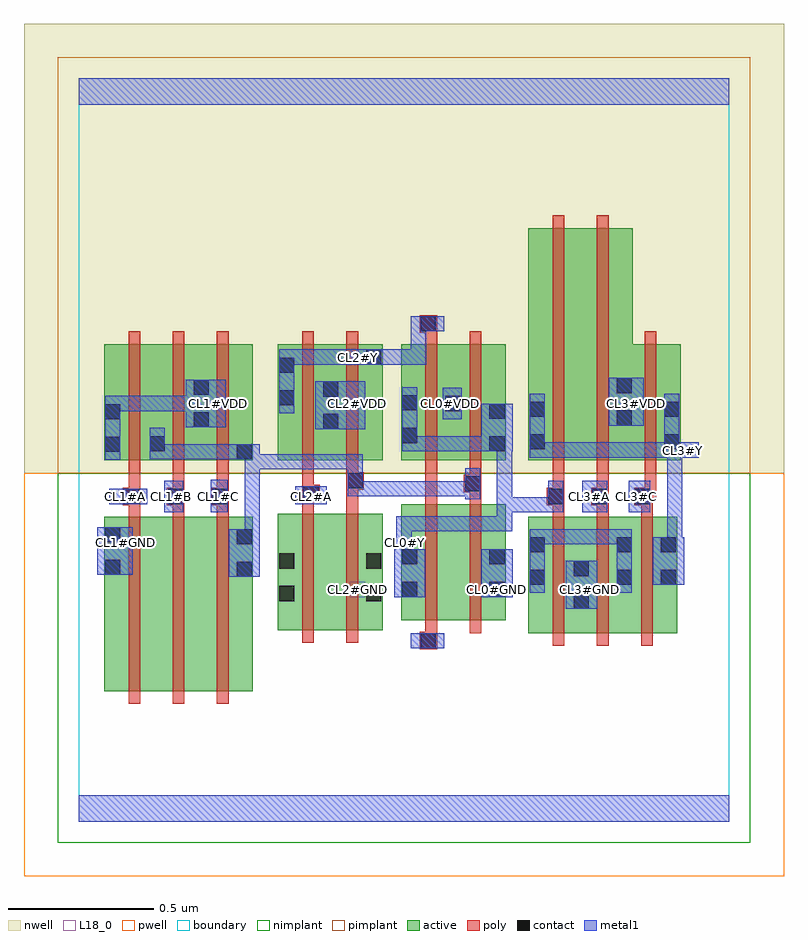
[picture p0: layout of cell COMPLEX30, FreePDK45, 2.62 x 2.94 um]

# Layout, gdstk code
import gdstk
lib = gdstk.Library(unit=1e-6, precision=1e-09)
def R(c, l, rs):  # rectangles x0, y0, x1, y1
    for r in rs: c.add(gdstk.rectangle(r[:2], r[2:], *l))
def A(c, l, x, y, w, h, nx, ny, dx, dy):  # array of equal rectangles
    R(c, l, [(x+i*dx, y+j*dy, x+i*dx+w, y+j*dy+h) for i in range(nx) for j in range(ny)])
active = (1, 0)
pwell = (2, 0)
nwell = (3, 0)
nimplant = (4, 0)
pimplant = (5, 0)
poly = (9, 0)
contact = (10, 0)
metal1 = (11, 0)
L18_0 = (18, 0)
boundary = (235, 0)

complex30 = lib.new_cell('COMPLEX30')
A(complex30, active, 0.088, 1.244, 0.06, 0.4, 3, 1, 0.152, 0)
R(complex30, active, [(0.088,0.45,0.268,1.05), (0.268,0.45,0.42,1.05), (0.42,0.45,0.6,1.05), (0.088,0.556,0.148,1.05), (0.54,0.556,0.6,1.05), (1.548,0.65,1.76,1.05), (1.7,0.65,1.908,1.05), (1.848,0.65,2.06,1.05), (0.686,0.66,0.866,1.06), (0.866,0.66,1.046,1.06), (1.11,0.694,1.29,1.094), (1.29,0.694,1.47,1.094), (1.7,0.73,1.76,1.05), (0.686,0.756,0.746,1.06), (0.986,0.756,1.046,1.06), (1.11,0.756,1.17,1.094), (1.41,0.756,1.47,1.094), (1.548,0.756,1.608,1.05), (1.848,0.756,1.908,1.05), (2,0.756,2.06,1.05), (0.088,1.244,0.3,1.644), (0.24,1.244,0.452,1.644), (0.392,1.244,0.6,1.644), (0.54,1.244,0.6,1.644), (0.686,1.244,0.898,1.644), (0.686,1.244,0.746,1.644), (0.838,1.244,1.046,1.644), (0.838,1.244,0.898,1.644), (0.986,1.244,1.046,1.644), (1.11,1.244,1.318,1.644), (1.11,1.244,1.17,1.644), (1.258,1.244,1.47,1.644), (1.258,1.244,1.318,1.644), (1.41,1.244,1.47,1.644), (1.548,1.244,1.728,2.044), (1.548,1.244,1.608,2.044), (1.728,1.244,1.908,2.044), (1.848,1.244,1.908,1.644), (1.848,1.244,2.072,1.644), (2.012,1.244,2.072,1.644)])
R(complex30, pwell, [(-0.188,-0.188,2.428,1.2)])
R(complex30, nwell, [(-0.188,1.2,2.428,2.748)])
R(complex30, nimplant, [(-0.072,-0.072,2.312,1.2)])
R(complex30, pimplant, [(-0.072,1.2,2.312,2.632)])
A(complex30, poly, 0.172, 0.406, 0.04, 0.688, 3, 1, 0.152, 0)
A(complex30, poly, 1.632, 0.606, 0.04, 0.488, 3, 1, 0.152, 0)
A(complex30, poly, 0.172, 1.054, 0.04, 0.076, 3, 1, 0.152, 0)
A(complex30, poly, 1.632, 1.054, 0.04, 0.076, 3, 1, 0.152, 0)
A(complex30, poly, 0.152, 1.09, 0.06, 0.06, 3, 1, 0.152, 0)
A(complex30, poly, 0.172, 1.11, 0.04, 0.13, 3, 1, 0.152, 0)
A(complex30, poly, 0.172, 1.2, 0.04, 0.488, 3, 1, 0.152, 0)
R(complex30, poly, [(1.174,0.594,1.234,0.654), (1.194,0.614,1.234,0.69), (0.77,0.616,0.81,1.104), (0.922,0.616,0.962,1.104), (1.194,0.65,1.234,1.138), (1.346,0.65,1.386,1.138), (0.77,1.064,0.81,1.14), (0.922,1.064,0.962,1.184), (0.324,1.09,0.364,1.13), (0.324,1.09,0.364,1.13), (0.476,1.09,0.516,1.13), (0.476,1.09,0.516,1.13), (1.612,1.09,1.672,1.15), (1.764,1.09,1.824,1.15), (1.912,1.09,1.976,1.15), (1.194,1.098,1.234,1.204), (1.346,1.098,1.386,1.174), (0.77,1.1,0.83,1.16), (0.172,1.11,0.212,1.15), (0.172,1.11,0.212,1.15), (1.632,1.11,1.672,1.24), (1.632,1.11,1.672,1.15), (1.632,1.11,1.672,1.15), (1.784,1.11,1.824,1.24), (1.784,1.11,1.824,1.15), (1.784,1.11,1.824,1.15), (1.936,1.11,1.976,1.15), (1.936,1.11,1.988,1.15), (1.948,1.11,1.988,1.24), (0.77,1.12,0.81,1.16), (0.77,1.12,0.81,1.16), (0.77,1.12,0.81,1.24), (1.326,1.134,1.386,1.194), (1.346,1.134,1.386,1.174), (1.346,1.134,1.386,1.174), (0.922,1.144,0.962,1.184), (0.922,1.144,0.962,1.184), (0.922,1.144,0.982,1.204), (1.346,1.154,1.386,1.24), (0.922,1.164,0.962,1.24), (1.194,1.164,1.234,1.204), (1.194,1.164,1.234,1.204), (1.194,1.164,1.234,1.204), (1.194,1.164,1.234,1.24), (0.77,1.2,0.81,1.688), (0.922,1.2,0.962,1.688), (1.194,1.2,1.234,1.688), (1.346,1.2,1.386,1.688), (1.632,1.2,1.672,2.088), (1.784,1.2,1.824,2.088), (1.948,1.2,1.988,1.688), (1.194,1.648,1.234,1.724), (1.174,1.684,1.234,1.744)])
A(complex30, contact, 0.156, 1.094, 0.052, 0.052, 3, 1, 0.152, 0)
R(complex30, contact, [(1.178,0.598,1.23,0.65), (1.704,0.734,1.756,0.786), (0.69,0.76,0.742,0.812), (0.99,0.76,1.042,0.812), (1.114,0.774,1.166,0.826), (1.414,0.774,1.466,0.826), (1.552,0.816,1.604,0.868), (1.852,0.816,1.904,0.868), (2.004,0.816,2.056,0.868), (0.544,0.844,0.596,0.896), (1.704,0.846,1.756,0.898), (0.092,0.85,0.144,0.902), (0.69,0.872,0.742,0.924), (0.99,0.872,1.042,0.924), (1.114,0.886,1.166,0.938), (1.414,0.886,1.466,0.938), (1.552,0.928,1.604,0.98), (1.852,0.928,1.904,0.98), (2.004,0.928,2.056,0.98), (0.544,0.956,0.596,1.008), (0.092,0.962,0.144,1.014), (1.616,1.094,1.668,1.146), (1.768,1.094,1.82,1.146), (1.916,1.094,1.968,1.146), (0.774,1.104,0.826,1.156), (1.33,1.138,1.382,1.19), (0.926,1.148,0.978,1.2), (0.544,1.248,0.596,1.3), (0.092,1.274,0.144,1.326), (0.244,1.276,0.296,1.328), (1.414,1.276,1.466,1.328), (1.552,1.282,1.604,1.334), (2.016,1.282,2.068,1.334), (1.114,1.304,1.166,1.356), (0.842,1.352,0.894,1.404), (0.396,1.358,0.448,1.41), (1.852,1.364,1.904,1.416), (0.092,1.386,0.144,1.438), (1.414,1.388,1.466,1.44), (1.552,1.394,1.604,1.446), (2.016,1.394,2.068,1.446), (1.262,1.414,1.314,1.466), (1.114,1.416,1.166,1.468), (0.69,1.434,0.742,1.486), (0.842,1.464,0.894,1.516), (0.396,1.47,0.448,1.522), (1.852,1.476,1.904,1.528), (0.69,1.546,0.742,1.598), (0.99,1.574,1.042,1.626), (1.178,1.688,1.23,1.74)])
R(complex30, metal1, [(0,0,2.24,0.092), (1.144,0.598,1.196,0.65), (1.144,0.598,1.202,0.65), (1.15,0.598,1.258,0.65), (1.676,0.734,1.786,0.898), (1.086,0.774,1.194,0.938), (1.386,0.774,1.494,0.938), (1.552,0.788,1.604,1.008), (1.852,0.788,1.904,1.008), (1.976,0.816,2.084,0.98), (0.516,0.844,0.624,1.008), (0.064,0.85,0.186,1.014), (1.094,0.886,1.146,0.958), (1.094,0.906,1.146,1.052), (2.026,0.928,2.078,1.306), (0.572,0.956,0.624,1.008), (0.572,0.956,0.624,1.008), (0.572,0.956,0.624,1.266), (1.552,0.956,1.604,1.008), (1.552,0.956,1.604,1.008), (1.552,0.956,1.714,1.008), (1.662,0.956,1.714,1.008), (1.662,0.956,1.714,1.008), (1.662,0.956,1.714,1.008), (1.662,0.956,1.904,1.008), (1.094,1,1.18,1.052), (1.128,1,1.18,1.052), (1.128,1,1.328,1.052), (1.276,1,1.328,1.052), (1.276,1,1.328,1.052), (1.276,1,1.328,1.052), (1.276,1,1.492,1.052), (1.44,1,1.492,1.118), (0.294,1.066,0.36,1.174), (0.454,1.066,0.514,1.178), (1.44,1.066,1.492,1.118), (1.44,1.066,1.492,1.118), (1.44,1.066,1.492,1.118), (1.44,1.066,1.492,1.118), (1.44,1.066,1.668,1.118), (1.44,1.066,1.492,1.328), (1.616,1.066,1.668,1.174), (1.734,1.066,1.82,1.174), (1.894,1.066,1.968,1.174), (0.106,1.094,0.236,1.146), (0.746,1.094,0.854,1.156), (1.33,1.11,1.382,1.218), (0.926,1.12,0.978,1.172), (0.926,1.12,0.978,1.172), (0.926,1.12,1.18,1.172), (0.926,1.12,0.978,1.266), (1.128,1.12,1.18,1.172), (1.128,1.12,1.18,1.172), (1.128,1.12,1.18,1.172), (1.128,1.12,1.328,1.172), (1.276,1.12,1.328,1.172), (1.276,1.12,1.382,1.172), (0.572,1.214,0.624,1.266), (0.572,1.214,0.624,1.266), (0.572,1.214,0.624,1.266), (0.572,1.214,0.848,1.266), (0.572,1.214,0.624,1.3), (0.796,1.214,0.848,1.266), (0.796,1.214,0.852,1.266), (0.8,1.214,0.852,1.266), (0.8,1.214,0.978,1.266), (0.092,1.246,0.144,1.466), (0.244,1.248,0.296,1.3), (0.244,1.248,0.296,1.3), (0.244,1.248,0.296,1.356), (0.244,1.248,0.458,1.3), (0.406,1.248,0.458,1.3), (0.406,1.248,0.458,1.3), (0.406,1.248,0.458,1.3), (0.406,1.248,0.568,1.3), (0.516,1.248,0.624,1.3), (1.552,1.254,1.604,1.306), (1.552,1.254,1.604,1.306), (1.552,1.254,1.604,1.474), (1.552,1.254,1.714,1.306), (1.662,1.254,1.714,1.306), (1.662,1.254,1.714,1.306), (1.662,1.254,1.714,1.306), (1.662,1.254,1.918,1.306), (1.866,1.254,1.918,1.306), (1.866,1.254,1.918,1.306), (1.866,1.254,1.918,1.306), (1.866,1.254,2.068,1.306), (2.016,1.254,2.068,1.306), (2.016,1.254,2.068,1.474), (2.016,1.254,2.078,1.306), (2.026,1.254,2.078,1.306), (2.026,1.254,2.134,1.306), (1.114,1.276,1.166,1.496), (1.114,1.276,1.18,1.328), (1.128,1.276,1.18,1.328), (1.128,1.276,1.306,1.328), (1.254,1.276,1.306,1.328), (1.254,1.276,1.306,1.328), (1.254,1.276,1.306,1.328), (1.254,1.276,1.438,1.328), (1.386,1.276,1.494,1.44), (0.814,1.352,0.986,1.516), (0.368,1.358,0.506,1.522), (1.824,1.364,1.946,1.528), (1.254,1.386,1.318,1.494), (0.69,1.406,0.742,1.626), (0.092,1.414,0.144,1.466), (0.092,1.414,0.144,1.466), (0.092,1.414,0.254,1.466), (0.202,1.414,0.254,1.466), (0.202,1.414,0.254,1.466), (0.202,1.414,0.254,1.466), (0.202,1.414,0.42,1.466), (0.69,1.574,0.742,1.626), (0.69,1.574,0.742,1.626), (0.69,1.574,0.868,1.626), (0.816,1.574,0.868,1.626), (0.816,1.574,0.958,1.626), (0.906,1.574,1.014,1.626), (0.962,1.574,1.014,1.626), (0.962,1.574,1.07,1.626), (1.018,1.574,1.196,1.626), (1.144,1.574,1.196,1.626), (1.144,1.574,1.196,1.74), (1.144,1.688,1.196,1.74), (1.144,1.688,1.202,1.74), (1.15,1.688,1.258,1.74), (0,2.468,2.24,2.56)])
A(complex30, L18_0, 0.134, 1.094, 0.052, 0.052, 3, 1, 0.16, 0)
R(complex30, L18_0, [(0,0,2.24,0.092), (1.144,0.598,1.196,0.65), (1.144,0.598,1.202,0.65), (1.15,0.598,1.258,0.65), (1.676,0.734,1.786,0.898), (0.934,0.774,0.986,0.826), (1.086,0.774,1.194,0.938), (1.386,0.774,1.494,0.938), (1.414,0.774,1.466,0.826), (1.734,0.774,1.786,0.826), (1.976,0.816,2.084,0.98), (0.064,0.85,0.186,1.014), (1.094,0.886,1.146,0.958), (1.094,0.906,1.146,1.052), (2.026,0.928,2.078,1.306), (0.134,0.934,0.186,0.986), (1.094,0.934,1.146,0.986), (1.094,1,1.18,1.052), (1.128,1,1.18,1.052), (1.128,1,1.328,1.052), (1.276,1,1.328,1.052), (1.276,1,1.328,1.052), (1.276,1,1.328,1.052), (1.276,1,1.492,1.052), (1.44,1,1.492,1.118), (0.294,1.066,0.36,1.174), (0.454,1.066,0.514,1.178), (1.44,1.066,1.492,1.118), (1.44,1.066,1.492,1.118), (1.44,1.066,1.492,1.118), (1.44,1.066,1.492,1.118), (1.44,1.066,1.492,1.328), (1.44,1.066,1.668,1.118), (1.616,1.066,1.668,1.174), (1.734,1.066,1.82,1.174), (1.894,1.066,1.968,1.174), (0.106,1.094,0.236,1.146), (0.746,1.094,0.854,1.156), (0.774,1.094,0.826,1.146), (1.734,1.094,1.786,1.146), (1.894,1.094,1.946,1.146), (0.092,1.246,0.144,1.466), (1.552,1.254,1.604,1.474), (1.552,1.254,1.604,1.306), (1.552,1.254,1.604,1.306), (1.552,1.254,1.714,1.306), (1.662,1.254,1.714,1.306), (1.662,1.254,1.714,1.306), (1.662,1.254,1.714,1.306), (1.662,1.254,1.918,1.306), (1.866,1.254,1.918,1.306), (1.866,1.254,1.918,1.306), (1.866,1.254,1.918,1.306), (1.866,1.254,2.068,1.306), (2.016,1.254,2.068,1.474), (2.016,1.254,2.068,1.306), (2.016,1.254,2.078,1.306), (2.026,1.254,2.078,1.306), (2.026,1.254,2.134,1.306), (2.054,1.254,2.106,1.306), (1.114,1.276,1.166,1.496), (1.114,1.276,1.18,1.328), (1.128,1.276,1.18,1.328), (1.128,1.276,1.306,1.328), (1.254,1.276,1.306,1.328), (1.254,1.276,1.306,1.328), (1.254,1.276,1.306,1.328), (1.254,1.276,1.438,1.328), (1.386,1.276,1.494,1.44), (0.814,1.352,0.986,1.516), (0.368,1.358,0.506,1.522), (1.824,1.364,1.946,1.528), (1.254,1.386,1.318,1.494), (0.69,1.406,0.742,1.626), (0.092,1.414,0.144,1.466), (0.092,1.414,0.144,1.466), (0.092,1.414,0.254,1.466), (0.202,1.414,0.254,1.466), (0.202,1.414,0.254,1.466), (0.202,1.414,0.254,1.466), (0.202,1.414,0.42,1.466), (0.454,1.414,0.506,1.466), (0.934,1.414,0.986,1.466), (1.254,1.414,1.306,1.466), (1.894,1.414,1.946,1.466), (0.69,1.574,0.742,1.626), (0.69,1.574,0.742,1.626), (0.69,1.574,0.868,1.626), (0.816,1.574,0.868,1.626), (0.816,1.574,0.958,1.626), (0.906,1.574,1.014,1.626), (0.934,1.574,0.986,1.626), (0.962,1.574,1.014,1.626), (0.962,1.574,1.07,1.626), (1.018,1.574,1.196,1.626), (1.144,1.574,1.196,1.626), (1.144,1.574,1.196,1.74), (1.144,1.688,1.196,1.74), (1.144,1.688,1.202,1.74), (1.15,1.688,1.258,1.74), (0,2.468,2.24,2.56)])
R(complex30, boundary, [(0,0,2.24,2.56)])
complex30.add(gdstk.Label('CL0#GND', (1.44,0.8), layer=11, texttype=0))
complex30.add(gdstk.Label('CL0#VDD', (1.28,1.44), layer=11, texttype=0))
complex30.add(gdstk.Label('CL0#Y', (1.12,0.96), layer=11, texttype=0))
complex30.add(gdstk.Label('CL1#A', (0.16,1.12), layer=11, texttype=0))
complex30.add(gdstk.Label('CL1#B', (0.32,1.12), layer=11, texttype=0))
complex30.add(gdstk.Label('CL1#C', (0.48,1.12), layer=11, texttype=0))
complex30.add(gdstk.Label('CL1#GND', (0.16,0.96), layer=11, texttype=0))
complex30.add(gdstk.Label('CL1#VDD', (0.48,1.44), layer=11, texttype=0))
complex30.add(gdstk.Label('CL2#A', (0.8,1.12), layer=11, texttype=0))
complex30.add(gdstk.Label('CL2#GND', (0.96,0.8), layer=11, texttype=0))
complex30.add(gdstk.Label('CL2#VDD', (0.96,1.44), layer=11, texttype=0))
complex30.add(gdstk.Label('CL2#Y', (0.96,1.6), layer=11, texttype=0))
complex30.add(gdstk.Label('CL3#A', (1.76,1.12), layer=11, texttype=0))
complex30.add(gdstk.Label('CL3#C', (1.92,1.12), layer=11, texttype=0))
complex30.add(gdstk.Label('CL3#GND', (1.76,0.8), layer=11, texttype=0))
complex30.add(gdstk.Label('CL3#VDD', (1.92,1.44), layer=11, texttype=0))
complex30.add(gdstk.Label('CL3#Y', (2.08,1.28), layer=11, texttype=0))

lib.write_gds('COMPLEX30.gds')
